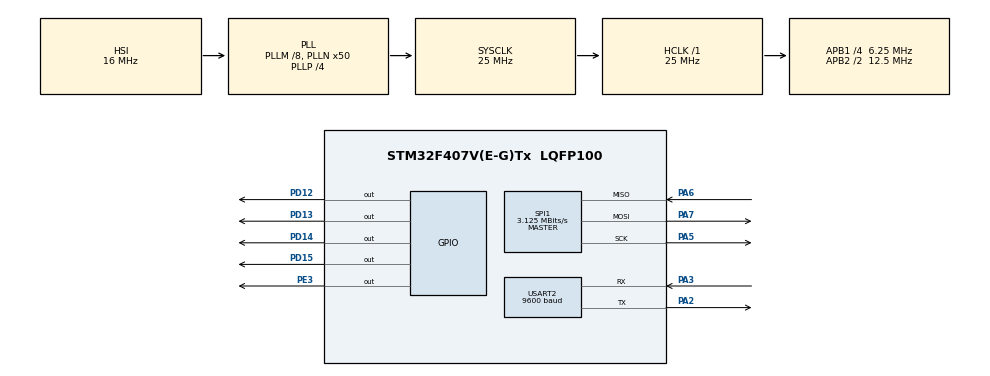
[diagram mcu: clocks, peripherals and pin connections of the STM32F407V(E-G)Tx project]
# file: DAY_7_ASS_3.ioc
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Mcu.Family=STM32F4
Mcu.Name=STM32F407V(E-G)Tx
Mcu.Package=LQFP100
NVIC.PriorityGroup=NVIC_PRIORITYGROUP_0
PA2.Mode=Asynchronous
PA2.Signal=USART2_TX
PA3.Mode=Asynchronous
PA3.Signal=USART2_RX
PA5.Mode=Full_Duplex_Master
PA5.Signal=SPI1_SCK
PA6.Mode=Full_Duplex_Master
PA6.Signal=SPI1_MISO
PA7.Mode=Full_Duplex_Master
PA7.Signal=SPI1_MOSI
PD12.Signal=GPIO_Output
PD13.Signal=GPIO_Output
PD14.Signal=GPIO_Output
PD15.Signal=GPIO_Output
PE3.Signal=GPIO_Output
ProjectManager.HeapSize=0x200
ProjectManager.StackSize=0x400
ProjectManager.TargetToolchain=STM32CubeIDE
RCC.48MHZClocksFreq_Value=14285714.285714285
RCC.AHBFreq_Value=25000000
RCC.APB1CLKDivider=RCC_HCLK_DIV4
RCC.APB1Freq_Value=6250000
RCC.APB1TimFreq_Value=12500000
RCC.APB2CLKDivider=RCC_HCLK_DIV2
RCC.APB2Freq_Value=12500000
RCC.APB2TimFreq_Value=25000000
RCC.CortexFreq_Value=25000000
RCC.HCLKFreq_Value=25000000
RCC.HSE_VALUE=8000000
RCC.HSI_VALUE=16000000
RCC.LSE_VALUE=32768
RCC.PLLM=8
RCC.PLLN=50
RCC.PLLP=RCC_PLLP_DIV4
RCC.PLLQ=7
RCC.SYSCLKFreq_VALUE=25000000
RCC.SYSCLKSource=RCC_SYSCLKSOURCE_PLLCLK
RCC.VCOOutputFreq_Value=100000000
SPI1.BaudRatePrescaler=SPI_BAUDRATEPRESCALER_4
SPI1.CalculateBaudRate=3.125 MBits/s
SPI1.Direction=SPI_DIRECTION_2LINES
SPI1.Mode=SPI_MODE_MASTER
SPI1.VirtualType=VM_MASTER
USART2.BaudRate=9600
USART2.VirtualMode=VM_ASYNC
board=STM32F407G-DISC1

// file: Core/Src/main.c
/* USER CODE BEGIN Header */
/**
  ******************************************************************************
  * @file           : main.c
  * @brief          : Main program body
  ******************************************************************************
  * @attention
  *
  * Copyright (c) 2026 STMicroelectronics.
  * All rights reserved.
  *
  * This software is licensed under terms that can be found in the LICENSE file
  * in the root directory of this software component.
  * If no LICENSE file comes with this software, it is provided AS-IS.
  *
  ******************************************************************************
  */
/* USER CODE END Header */
#include "main.h"

/* USER CODE BEGIN Includes */
#include "accel_init.h"
#include <stdio.h>
#include <string.h>
/* USER CODE END Includes */

SPI_HandleTypeDef hspi1;

UART_HandleTypeDef huart2;

/* USER CODE BEGIN PV */
char str[64];
/* USER CODE END PV */

void SystemClock_Config(void);
static void MX_GPIO_Init(void);
static void MX_SPI1_Init(void);
static void MX_USART2_UART_Init(void);

int main(void)
{

  /* MCU Configuration--------------------------------------------------------*/

  /* Reset of all peripherals, Initializes the Flash interface and the Systick. */
  HAL_Init();

  /* Configure the system clock */
  SystemClock_Config();

  /* Initialize all configured peripherals */
  MX_GPIO_Init();
  MX_SPI1_Init();
  MX_USART2_UART_Init();
  /* USER CODE BEGIN 2 */
  Accel_Init();
  /* USER CODE END 2 */

  /* Infinite loop */
  /* USER CODE BEGIN WHILE */
  while (1)
  {
	  AccelReading_t val = Accel_GetReading();

	  sprintf(str, "X=%d, Y=%d\r\n", val.x, val.y);

	  HAL_UART_Transmit(&huart2, (uint8_t*)str, strlen(str), HAL_MAX_DELAY);
	  HAL_Delay(2000);

	  //For X
	  if (val.x > 3000)
	  {
	      HAL_GPIO_WritePin(GPIOD, GPIO_PIN_12, GPIO_PIN_SET);
	  }
	  else
	  {
	      HAL_GPIO_WritePin(GPIOD, GPIO_PIN_12, GPIO_PIN_RESET);
	  }

	  if (val.x < -3000)
	  {
	      HAL_GPIO_WritePin(GPIOD, GPIO_PIN_13, GPIO_PIN_SET);
	  }
	  else
	  {
	      HAL_GPIO_WritePin(GPIOD, GPIO_PIN_13, GPIO_PIN_RESET);
	  }

	  //For Y
	  if (val.y > 3000)
	  {
	      HAL_GPIO_WritePin(GPIOD, GPIO_PIN_14, GPIO_PIN_SET);
	  }
	  else
	  {
	      HAL_GPIO_WritePin(GPIOD, GPIO_PIN_14, GPIO_PIN_RESET);
	  }

	  if (val.y < -3000)
	  {
	      HAL_GPIO_WritePin(GPIOD, GPIO_PIN_15, GPIO_PIN_SET);
	  }
	  else
	  {
	      HAL_GPIO_WritePin(GPIOD, GPIO_PIN_15, GPIO_PIN_RESET);
	  }

	  HAL_Delay(200);

    /* USER CODE END WHILE */

  }
}

void SystemClock_Config(void)
{
  RCC_OscInitTypeDef RCC_OscInitStruct = {0};
  RCC_ClkInitTypeDef RCC_ClkInitStruct = {0};

  /** Configure the main internal regulator output voltage
  */
  __HAL_RCC_PWR_CLK_ENABLE();
  __HAL_PWR_VOLTAGESCALING_CONFIG(PWR_REGULATOR_VOLTAGE_SCALE1);

  /** Initializes the RCC Oscillators according to the specified parameters
  * in the RCC_OscInitTypeDef structure.
  */
  RCC_OscInitStruct.OscillatorType = RCC_OSCILLATORTYPE_HSI;
  RCC_OscInitStruct.HSIState = RCC_HSI_ON;
  RCC_OscInitStruct.HSICalibrationValue = RCC_HSICALIBRATION_DEFAULT;
  RCC_OscInitStruct.PLL.PLLState = RCC_PLL_ON;
  RCC_OscInitStruct.PLL.PLLSource = RCC_PLLSOURCE_HSI;
  RCC_OscInitStruct.PLL.PLLM = 8;
  RCC_OscInitStruct.PLL.PLLN = 50;
  RCC_OscInitStruct.PLL.PLLP = RCC_PLLP_DIV4;
  RCC_OscInitStruct.PLL.PLLQ = 7;
  if (HAL_RCC_OscConfig(&RCC_OscInitStruct) != HAL_OK)
  {
    Error_Handler();
  }

  /** Initializes the CPU, AHB and APB buses clocks
  */
  RCC_ClkInitStruct.ClockType = RCC_CLOCKTYPE_HCLK|RCC_CLOCKTYPE_SYSCLK
                              |RCC_CLOCKTYPE_PCLK1|RCC_CLOCKTYPE_PCLK2;
  RCC_ClkInitStruct.SYSCLKSource = RCC_SYSCLKSOURCE_PLLCLK;
  RCC_ClkInitStruct.AHBCLKDivider = RCC_SYSCLK_DIV1;
  RCC_ClkInitStruct.APB1CLKDivider = RCC_HCLK_DIV4;
  RCC_ClkInitStruct.APB2CLKDivider = RCC_HCLK_DIV2;

  if (HAL_RCC_ClockConfig(&RCC_ClkInitStruct, FLASH_LATENCY_0) != HAL_OK)
  {
    Error_Handler();
  }
}

static void MX_SPI1_Init(void)
{

  /* SPI1 parameter configuration*/
  hspi1.Instance = SPI1;
  hspi1.Init.Mode = SPI_MODE_MASTER;
  hspi1.Init.Direction = SPI_DIRECTION_2LINES;
  hspi1.Init.DataSize = SPI_DATASIZE_8BIT;
  hspi1.Init.CLKPolarity = SPI_POLARITY_LOW;
  hspi1.Init.CLKPhase = SPI_PHASE_1EDGE;
  hspi1.Init.NSS = SPI_NSS_SOFT;
  hspi1.Init.BaudRatePrescaler = SPI_BAUDRATEPRESCALER_4;
  hspi1.Init.FirstBit = SPI_FIRSTBIT_MSB;
  hspi1.Init.TIMode = SPI_TIMODE_DISABLE;
  hspi1.Init.CRCCalculation = SPI_CRCCALCULATION_DISABLE;
  hspi1.Init.CRCPolynomial = 10;
  if (HAL_SPI_Init(&hspi1) != HAL_OK)
  {
    Error_Handler();
  }

}

static void MX_USART2_UART_Init(void)
{

  huart2.Instance = USART2;
  huart2.Init.BaudRate = 9600;
  huart2.Init.WordLength = UART_WORDLENGTH_8B;
  huart2.Init.StopBits = UART_STOPBITS_1;
  huart2.Init.Parity = UART_PARITY_NONE;
  huart2.Init.Mode = UART_MODE_TX_RX;
  huart2.Init.HwFlowCtl = UART_HWCONTROL_NONE;
  huart2.Init.OverSampling = UART_OVERSAMPLING_16;
  if (HAL_UART_Init(&huart2) != HAL_OK)
  {
    Error_Handler();
  }

}

static void MX_GPIO_Init(void)
{
  GPIO_InitTypeDef GPIO_InitStruct = {0};

  /* GPIO Ports Clock Enable */
  __HAL_RCC_GPIOE_CLK_ENABLE();
  __HAL_RCC_GPIOA_CLK_ENABLE();
  __HAL_RCC_GPIOD_CLK_ENABLE();

  /*Configure GPIO pin Output Level */
  HAL_GPIO_WritePin(GPIOE, GPIO_PIN_3, GPIO_PIN_RESET);

  /*Configure GPIO pin Output Level */
  HAL_GPIO_WritePin(GPIOD, GPIO_PIN_12|GPIO_PIN_13|GPIO_PIN_14|GPIO_PIN_15, GPIO_PIN_RESET);

  /*Configure GPIO pin : PE3 */
  GPIO_InitStruct.Pin = GPIO_PIN_3;
  GPIO_InitStruct.Mode = GPIO_MODE_OUTPUT_PP;
  GPIO_InitStruct.Pull = GPIO_NOPULL;
  GPIO_InitStruct.Speed = GPIO_SPEED_FREQ_LOW;
  HAL_GPIO_Init(GPIOE, &GPIO_InitStruct);

  /*Configure GPIO pins : PD12 PD13 PD14 PD15 */
  GPIO_InitStruct.Pin = GPIO_PIN_12|GPIO_PIN_13|GPIO_PIN_14|GPIO_PIN_15;
  GPIO_InitStruct.Mode = GPIO_MODE_OUTPUT_PP;
  GPIO_InitStruct.Pull = GPIO_NOPULL;
  GPIO_InitStruct.Speed = GPIO_SPEED_FREQ_LOW;
  HAL_GPIO_Init(GPIOD, &GPIO_InitStruct);

}

void Error_Handler(void)
{
  __disable_irq();
  while (1)
  {
  }
}
